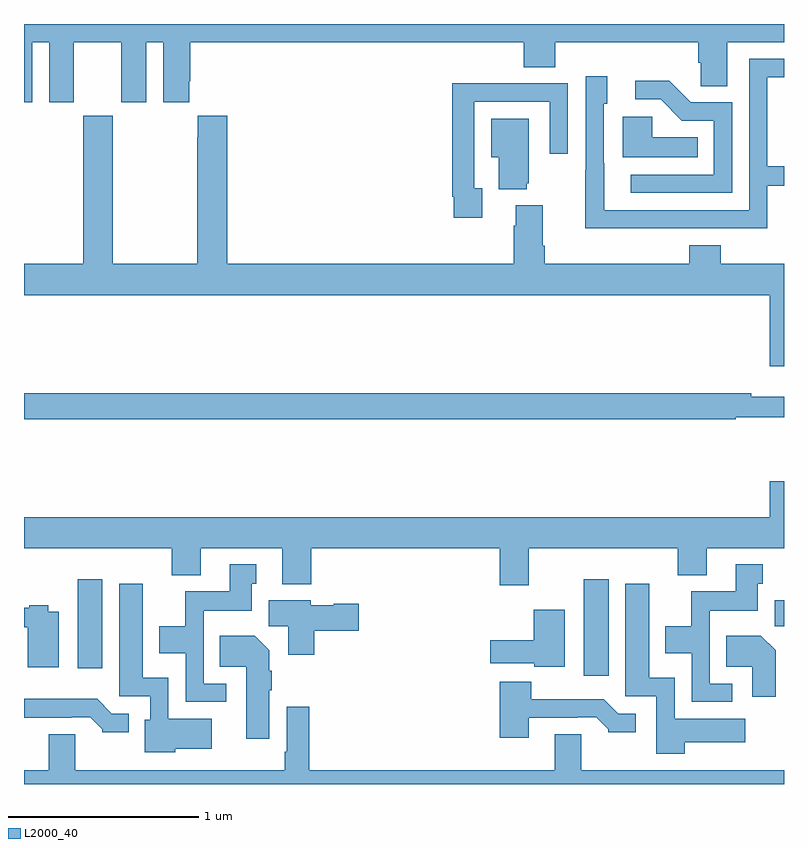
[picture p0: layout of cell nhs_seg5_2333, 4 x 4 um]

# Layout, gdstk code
import gdstk
lib = gdstk.Library(unit=1e-6, precision=1e-09)
def R(c, l, rs):  # rectangles x0, y0, x1, y1
    for r in rs: c.add(gdstk.rectangle(r[:2], r[2:], *l))
def P(c, l, *ps):  # polygons
    for p in ps: c.add(gdstk.Polygon(p, *l))
L2000_40 = (2000, 40)

nhs_seg5_2333 = lib.new_cell('nhs_seg5_2333')
R(nhs_seg5_2333, L2000_40, [(247.946,909.369,248.077,909.877), (245.282,909.408,245.413,909.877), (248.951,909.628,249,909.766)])
P(nhs_seg5_2333, L2000_40, [(248.549,912.595),(248.562,912.595),(248.562,912.472),(248.701,912.472),(248.701,912.704),(249,912.704),(249,912.799),(245,912.799),(245,912.387),(245.044,912.387),(245.044,912.704),(245.132,912.704),(245.132,912.387),(245.263,912.387),(245.263,912.704),(245.513,912.704),(245.513,912.387),(245.644,912.387),(245.644,912.704),(245.732,912.704),(245.732,912.387),(245.869,912.387),(245.869,912.499),(245.876,912.499),(245.876,912.704),(247.631,912.704),(247.631,912.571),(247.796,912.571),(247.796,912.704),(248.549,912.704)],
  [(248.417,911.724),(248.913,911.724),(248.913,911.949),(249,911.949),(249,912.05),(248.913,912.05),(248.913,912.519),(249,912.519),(249,912.615),(248.817,912.615),(248.817,911.82),(248.053,911.82),(248.053,912.065),(248.052,912.065),(248.052,912.378),(248.071,912.378),(248.071,912.523),(247.956,912.523),(247.956,912.029),(247.954,912.029),(247.954,911.723),(248.417,911.723)],
  [(248.727,912.387),(248.508,912.387),(248.395,912.5),(248.217,912.5),(248.217,912.402),(248.351,912.402),(248.462,912.291),(248.631,912.291),(248.631,912.006),(248.193,912.006),(248.193,911.91),(248.727,911.91)],
  [(247.411,911.934),(247.371,911.934),(247.371,912.39),(247.767,912.39),(247.767,912.117),(247.863,912.117),(247.863,912.486),(247.547,912.486),(247.547,912.488),(247.255,912.488),(247.255,911.89),(247.263,911.89),(247.263,911.778),(247.411,911.778)],
  [(249,911.536),(248.666,911.536),(248.666,911.635),(248.501,911.635),(248.501,911.536),(247.742,911.536),(247.742,911.632),(247.729,911.632),(247.729,911.845),(247.589,911.845),(247.589,911.738),(247.577,911.738),(247.577,911.536),(246.071,911.536),(246.071,912.316),(245.915,912.316),(245.915,912.203),(245.911,912.203),(245.911,911.536),(245.466,911.536),(245.466,912.316),(245.311,912.316),(245.311,911.536),(245,911.536),(245,911.372),(248.924,911.372),(248.924,910.998),(249,910.998)],
  [(248.546,912.202),(248.307,912.202),(248.307,912.31),(248.15,912.31),(248.15,912.098),(248.546,912.098)],
  [(247.646,911.961),(247.657,911.961),(247.657,912.301),(247.46,912.301),(247.46,912.098),(247.499,912.098),(247.499,911.93),(247.646,911.93)],
  [(248.745,910.728),(249,910.728),(249,910.837),(248.828,910.837),(248.828,910.856),(245,910.856),(245,910.72),(248.745,910.72)],
  [(247.657,910.04),(248.441,910.04),(248.441,909.899),(248.593,909.899),(248.593,910.04),(249,910.04),(249,910.393),(248.924,910.393),(248.924,910.204),(245,910.204),(245,910.04),(245.777,910.04),(245.777,909.899),(245.929,909.899),(245.929,910.04),(246.359,910.04),(246.359,909.851),(246.512,909.851),(246.512,910.04),(247.505,910.04),(247.505,909.846),(247.657,909.846)],
  [(246.064,909.327),(245.946,909.327),(245.946,909.71),(246.199,909.71),(246.199,909.852),(246.223,909.852),(246.223,909.955),(246.083,909.955),(246.083,909.814),(245.848,909.814),(245.848,909.628),(245.711,909.628),(245.711,909.488),(245.85,909.488),(245.85,909.231),(246.064,909.231)],
  [(248.728,909.327),(248.61,909.327),(248.61,909.71),(248.863,909.71),(248.863,909.852),(248.887,909.852),(248.887,909.955),(248.747,909.955),(248.747,909.814),(248.512,909.814),(248.512,909.628),(248.375,909.628),(248.375,909.488),(248.514,909.488),(248.514,909.231),(248.728,909.231)],
  [(248.477,909.02),(248.797,909.02),(248.797,909.142),(248.424,909.142),(248.424,909.358),(248.29,909.358),(248.29,909.853),(248.165,909.853),(248.165,909.261),(248.328,909.261),(248.328,908.958),(248.477,908.958)],
  [(245.796,908.984),(245.989,908.984),(245.989,909.142),(245.76,909.142),(245.76,909.358),(245.626,909.358),(245.626,909.853),(245.501,909.853),(245.501,909.261),(245.664,909.261),(245.664,909.138),(245.636,909.138),(245.636,908.966),(245.796,908.966)],
  [(246.527,909.605),(246.763,909.605),(246.763,909.747),(246.63,909.747),(246.63,909.739),(246.51,909.739),(246.51,909.766),(246.287,909.766),(246.287,909.628),(246.392,909.628),(246.392,909.48),(246.527,909.48)],
  [(245.182,909.706),(245.127,909.706),(245.127,909.739),(245.027,909.739),(245.027,909.726),(245,909.726),(245,909.625),(245.02,909.625),(245.02,909.413),(245.182,909.413)],
  [(247.846,909.715),(247.682,909.715),(247.682,909.556),(247.455,909.556),(247.455,909.434),(247.686,909.434),(247.686,909.416),(247.846,909.416)],
  [(248.956,909.502),(248.878,909.58),(248.695,909.58),(248.695,909.416),(248.834,909.416),(248.834,909.258),(248.956,909.258)],
  [(246.292,909.292),(246.305,909.292),(246.305,909.395),(246.292,909.395),(246.292,909.502),(246.214,909.58),(246.031,909.58),(246.031,909.416),(246.17,909.416),(246.17,909.036),(246.292,909.036)],
  [(247.657,909.147),(247.913,909.147),(247.913,909.15),(248.012,909.15),(248.076,909.086),(248.076,909.071),(248.221,909.071),(248.221,909.168),(248.127,909.168),(248.051,909.244),(247.67,909.244),(247.67,909.337),(247.505,909.337),(247.505,909.042),(247.657,909.042)],
  [(245.551,909.168),(245.463,909.168),(245.385,909.247),(245,909.247),(245,909.147),(245.249,909.147),(245.249,909.15),(245.348,909.15),(245.412,909.086),(245.412,909.071),(245.551,909.071)],
  [(249,908.872),(247.933,908.872),(247.933,909.062),(247.793,909.062),(247.793,908.872),(246.5,908.872),(246.5,909.205),(246.384,909.205),(246.384,908.968),(246.372,908.968),(246.372,908.872),(245.269,908.872),(245.269,909.062),(245.129,909.062),(245.129,908.872),(245,908.872),(245,908.799),(249,908.799)])

lib.write_gds('nhs_seg5_2333.gds')
